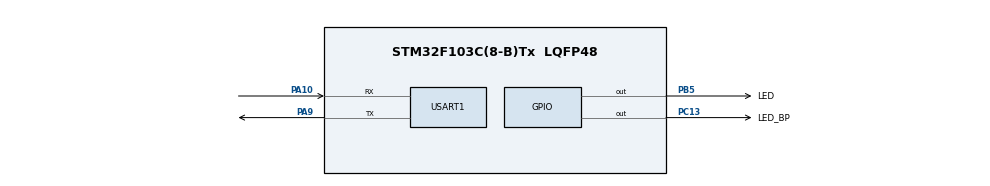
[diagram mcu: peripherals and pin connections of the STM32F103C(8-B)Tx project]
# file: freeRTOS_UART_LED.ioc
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FREERTOS.Tasks01=defaultTask,24,128,StartDefaultTask,Default,NULL,Dynamic,NULL,NULL
FREERTOS.configTOTAL_HEAP_SIZE=10000
FREERTOS.configUSE_NEWLIB_REENTRANT=1
Mcu.Family=STM32F1
Mcu.Name=STM32F103C(8-B)Tx
Mcu.Package=LQFP48
NVIC.PriorityGroup=NVIC_PRIORITYGROUP_4
NVIC.TIM1_UP_IRQn=true\:15\:0\:false\:false\:true\:false\:false\:true\:true
NVIC.TimeBase=TIM1_UP_IRQn
NVIC.TimeBaseIP=TIM1
NVIC.USART1_IRQn=true\:5\:0\:false\:false\:true\:true\:true\:true\:true
PA10.Mode=Asynchronous
PA10.Signal=USART1_RX
PA13.Mode=Serial_Wire
PA13.Signal=SYS_JTMS-SWDIO
PA14.Mode=Serial_Wire
PA14.Signal=SYS_JTCK-SWCLK
PA9.Mode=Asynchronous
PA9.Signal=USART1_TX
PB5.GPIO_Label=LED
PB5.Signal=GPIO_Output
PC13-TAMPER-RTC.GPIO_Label=LED_BP
PC13-TAMPER-RTC.Signal=GPIO_Output
PC14-OSC32_IN.Mode=LSE-External-Oscillator
PC14-OSC32_IN.Signal=RCC_OSC32_IN
PC15-OSC32_OUT.Mode=LSE-External-Oscillator
PC15-OSC32_OUT.Signal=RCC_OSC32_OUT
PD0-OSC_IN.Mode=HSE-External-Oscillator
PD0-OSC_IN.Signal=RCC_OSC_IN
PD1-OSC_OUT.Mode=HSE-External-Oscillator
PD1-OSC_OUT.Signal=RCC_OSC_OUT
ProjectManager.HeapSize=0x200
ProjectManager.StackSize=0x400
ProjectManager.TargetToolchain=STM32CubeIDE
RCC.APB1Freq_Value=8000000
RCC.APB2Freq_Value=8000000
USART1.VirtualMode=VM_ASYNC
VP_FREERTOS_VS_CMSIS_V2.Mode=CMSIS_V2
VP_SYS_VS_tim1.Mode=TIM1
board=custom

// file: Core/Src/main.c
/* USER CODE BEGIN Header */
/**
  ******************************************************************************
  * @file           : main.c
  * @brief          : Main program body
  ******************************************************************************
  * @attention
  *
  * Copyright (c) 2025 STMicroelectronics.
  * All rights reserved.
  *
  * This software is licensed under terms that can be found in the LICENSE file
  * in the root directory of this software component.
  * If no LICENSE file comes with this software, it is provided AS-IS.
  *
  ******************************************************************************
  */
/* USER CODE END Header */
#include "main.h"
#include "cmsis_os.h"

/* USER CODE BEGIN Includes */
#include "task.h"
#include "queue.h"
#include "FreeRTOS.h"
#include "string.h"
/* USER CODE END Includes */

/* USER CODE BEGIN PD */
#define CMD_MAX 32
#define LEN_COLAS_SERIE  (20)
/* USER CODE END PD */

UART_HandleTypeDef huart1;

/* Definitions for defaultTask */
osThreadId_t defaultTaskHandle;
const osThreadAttr_t defaultTask_attributes = {
  .name = "defaultTask",
  .stack_size = 128 * 4,
  .priority = (osPriority_t) osPriorityNormal,
};
/* USER CODE BEGIN PV */
static xQueueHandle cola_rx;
static uint8_t dato_rx_irq;

/* USER CODE END PV */

void SystemClock_Config(void);
static void MX_GPIO_Init(void);
static void MX_USART1_UART_Init(void);
void StartDefaultTask(void *argument);

/* USER CODE BEGIN 0 */
void HAL_UART_RxCpltCallback(UART_HandleTypeDef *huart)
{
	BaseType_t pxHigherPriorityTaskWoken = pdFALSE;

	xQueueSendFromISR(cola_rx, &dato_rx_irq, &pxHigherPriorityTaskWoken);
	HAL_UART_Receive_IT(&huart1, &dato_rx_irq, 1);

	portEND_SWITCHING_ISR(pxHigherPriorityTaskWoken);
}

void task (void *p)
{
	uint8_t dato_rx;
	static char cmd[CMD_MAX];
	size_t len = 0;

	HAL_UART_Receive_IT(&huart1, &dato_rx_irq, 1);

	while (1) {
		xQueueReceive(cola_rx, &dato_rx, portMAX_DELAY);

		        if (dato_rx == '\r' || dato_rx == '\n' || dato_rx == ' ') {  // separadores
		            if (len > 0) {
		                cmd[len] = '\0';

		                if (strcmp(cmd, "prender") == 0) {
		                    HAL_GPIO_WritePin(LED_BP_GPIO_Port, LED_BP_Pin, GPIO_PIN_RESET);
		                    HAL_UART_Transmit_IT(&huart1, (uint8_t*)"LED ON\r\n", 8);
		                } else if (strcmp(cmd, "apagar") == 0) {
		                    HAL_GPIO_WritePin(LED_BP_GPIO_Port, LED_BP_Pin, GPIO_PIN_SET);
		                    HAL_UART_Transmit_IT(&huart1, (uint8_t*)"LED OFF\r\n", 9);
		                }
		                // limpiá el comando para la próxima palabra
		                len = 0;
		            }
		        }
		        else {
		            if (len < CMD_MAX - 1) {
		                cmd[len++] = (char)dato_rx;
		            } else {
		                // overflow -> reseteá
		                len = 0;
		            }

	}
	}
}

/* USER CODE END 0 */

int main(void)
{

  /* MCU Configuration--------------------------------------------------------*/

  /* Reset of all peripherals, Initializes the Flash interface and the Systick. */
  HAL_Init();

  /* Configure the system clock */
  SystemClock_Config();

  /* Initialize all configured peripherals */
  MX_GPIO_Init();
  MX_USART1_UART_Init();

  /* Init scheduler */
  osKernelInitialize();

  /* USER CODE BEGIN RTOS_QUEUES */
  /* add queues, ... */
  cola_rx = xQueueCreate(LEN_COLAS_SERIE, sizeof(uint8_t));
  /* USER CODE END RTOS_QUEUES */

  /* Create the thread(s) */
  /* creation of defaultTask */
  defaultTaskHandle = osThreadNew(StartDefaultTask, NULL, &defaultTask_attributes);

  /* USER CODE BEGIN RTOS_THREADS */
  /* add threads, ... */
  xTaskCreate(task,    "tarea_led",    configMINIMAL_STACK_SIZE, NULL, osPriorityNormal, NULL);
  /* USER CODE END RTOS_THREADS */

  /* Start scheduler */
  osKernelStart();

  /* We should never get here as control is now taken by the scheduler */

  /* Infinite loop */
  while (1)
  {

  }
}

void SystemClock_Config(void)
{
  RCC_OscInitTypeDef RCC_OscInitStruct = {0};
  RCC_ClkInitTypeDef RCC_ClkInitStruct = {0};

  /** Initializes the RCC Oscillators according to the specified parameters
  * in the RCC_OscInitTypeDef structure.
  */
  RCC_OscInitStruct.OscillatorType = RCC_OSCILLATORTYPE_HSI;
  RCC_OscInitStruct.HSIState = RCC_HSI_ON;
  RCC_OscInitStruct.HSICalibrationValue = RCC_HSICALIBRATION_DEFAULT;
  RCC_OscInitStruct.PLL.PLLState = RCC_PLL_NONE;
  if (HAL_RCC_OscConfig(&RCC_OscInitStruct) != HAL_OK)
  {
    Error_Handler();
  }

  /** Initializes the CPU, AHB and APB buses clocks
  */
  RCC_ClkInitStruct.ClockType = RCC_CLOCKTYPE_HCLK|RCC_CLOCKTYPE_SYSCLK
                              |RCC_CLOCKTYPE_PCLK1|RCC_CLOCKTYPE_PCLK2;
  RCC_ClkInitStruct.SYSCLKSource = RCC_SYSCLKSOURCE_HSI;
  RCC_ClkInitStruct.AHBCLKDivider = RCC_SYSCLK_DIV1;
  RCC_ClkInitStruct.APB1CLKDivider = RCC_HCLK_DIV1;
  RCC_ClkInitStruct.APB2CLKDivider = RCC_HCLK_DIV1;

  if (HAL_RCC_ClockConfig(&RCC_ClkInitStruct, FLASH_LATENCY_0) != HAL_OK)
  {
    Error_Handler();
  }
}

static void MX_USART1_UART_Init(void)
{

  huart1.Instance = USART1;
  huart1.Init.BaudRate = 115200;
  huart1.Init.WordLength = UART_WORDLENGTH_8B;
  huart1.Init.StopBits = UART_STOPBITS_1;
  huart1.Init.Parity = UART_PARITY_NONE;
  huart1.Init.Mode = UART_MODE_TX_RX;
  huart1.Init.HwFlowCtl = UART_HWCONTROL_NONE;
  huart1.Init.OverSampling = UART_OVERSAMPLING_16;
  if (HAL_UART_Init(&huart1) != HAL_OK)
  {
    Error_Handler();
  }

}

static void MX_GPIO_Init(void)
{
  GPIO_InitTypeDef GPIO_InitStruct = {0};

  /* GPIO Ports Clock Enable */
  __HAL_RCC_GPIOC_CLK_ENABLE();
  __HAL_RCC_GPIOD_CLK_ENABLE();
  __HAL_RCC_GPIOA_CLK_ENABLE();
  __HAL_RCC_GPIOB_CLK_ENABLE();

  /*Configure GPIO pin Output Level */
  HAL_GPIO_WritePin(LED_BP_GPIO_Port, LED_BP_Pin, GPIO_PIN_RESET);

  /*Configure GPIO pin Output Level */
  HAL_GPIO_WritePin(LED_GPIO_Port, LED_Pin, GPIO_PIN_RESET);

  /*Configure GPIO pin : LED_BP_Pin */
  GPIO_InitStruct.Pin = LED_BP_Pin;
  GPIO_InitStruct.Mode = GPIO_MODE_OUTPUT_PP;
  GPIO_InitStruct.Pull = GPIO_NOPULL;
  GPIO_InitStruct.Speed = GPIO_SPEED_FREQ_LOW;
  HAL_GPIO_Init(LED_BP_GPIO_Port, &GPIO_InitStruct);

  /*Configure GPIO pin : LED_Pin */
  GPIO_InitStruct.Pin = LED_Pin;
  GPIO_InitStruct.Mode = GPIO_MODE_OUTPUT_PP;
  GPIO_InitStruct.Pull = GPIO_NOPULL;
  GPIO_InitStruct.Speed = GPIO_SPEED_FREQ_LOW;
  HAL_GPIO_Init(LED_GPIO_Port, &GPIO_InitStruct);

}

void StartDefaultTask(void *argument)
{
  for(;;)
  {
    osDelay(1);
  }
}

void HAL_TIM_PeriodElapsedCallback(TIM_HandleTypeDef *htim)
{
  if (htim->Instance == TIM1)
  {
    HAL_IncTick();
  }
}

void Error_Handler(void)
{
  __disable_irq();
  while (1)
  {
  }
}
